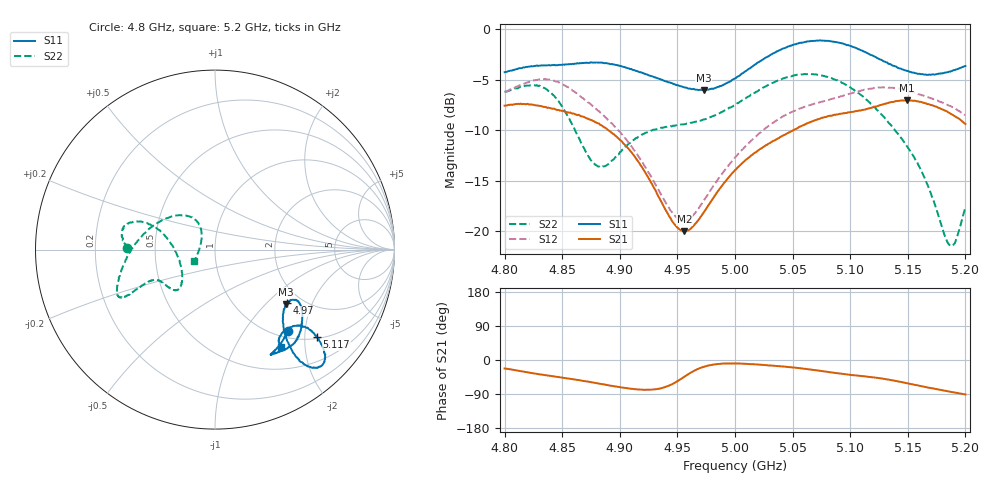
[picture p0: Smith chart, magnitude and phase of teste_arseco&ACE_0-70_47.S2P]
! Network Analyzer HP8722D
! Hewlett-Packard
! Data name: Linha & Wilkinson
! Saver's name: Rodrigo Anjos
! Comments: Teste da utilização de aquisição
! continua pelo VNA HP8722D
! Time and date: 8/5/2025 13:09
!  Frequency  S11  S21  S12  S22
# HZ  S  MA R 50
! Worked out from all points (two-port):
!   401 points, 4.8 GHz to 5.2 GHz, reference 50 ohm
!   highest |S21| = -7.03 dB at 5.149 GHz (marker M1); lowest = -20.0 dB at 4.956 GHz (marker M2)
!   |S21| within 3 dB of the highest: start of sweep to 4.89 GHz; 5.05 GHz to end of sweep
!   lowest |S11| = -6.0 dB at 4.973 GHz (marker M3), VSWR 2.99, Z = 82 - j66.4 ohm
!   |S11| at or under -10 dB: nowhere
!   |S22| runs from -21.5 to -4.4 dB; largest |S21 - S12| = 0.95
!   S11 on the Smith chart (normalised r, x): 4.8 GHz: 1.12, -1.64; 4.97 GHz: 1.68, -1.34; 5.117 GHz: 1.03, -2.30; 5.2 GHz: 0.82, -1.57
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4.8e9  0.6124 -48.1  0.4183 -22.5  0.4888 -176.9  0.4899 179.2
4.823e9  0.6562 -59.6  0.4243 -34.1  0.5508 175.2  0.5277 169.9
4.837e9  0.6615 -61.9  0.4084 -40.8  0.5639 166.6  0.5016 162.7
4.851e9  0.6687 -60.1  0.3939 -46.8  0.5303 157.6  0.4052 158.6
4.867e9  0.6794 -54.8  0.3702 -54.6  0.459 150.0  0.2705 167.4
4.885e9  0.6819 -49.2  0.3315 -63.8  0.3786 143.7  0.2094 -159.1
4.909e9  0.6339 -40.5  0.2502 -75.6  0.2685 137.4  0.274 -133.6
4.934e9  0.5691 -33.0  0.1475 -75.9  0.1594 141.5  0.3232 -135.9
4.956e9  0.5154 -32.7  0.1001 -44.3  0.113 173.9  0.3386 -145.0
4.97e9  0.5016 -36.4  0.1179 -21.0  0.1339 -163.0  0.3527 -150.2
4.973e9  0.4991 -37.6  0.1245 -17.9  0.1422 -159.6  0.3577 -151.2
5e9  0.5706 -48.2  0.2009 -9.2  0.2319 -147.3  0.4226 -154.2
5.038e9  0.7836 -52.7  0.2892 -16.4  0.3608 -148.5  0.5594 -152.3
5.067e9  0.8729 -48.6  0.3501 -25.7  0.4249 -155.1  0.5983 -155.5
5.096e9  0.8388 -43.4  0.3845 -37.8  0.4732 -163.5  0.5323 -167.9
5.117e9  0.7501 -40.6  0.4065 -44.8  0.5074 -173.4  0.4335 173.4
5.134e9  0.6731 -40.4  0.4343 -52.1  0.5138 176.4  0.3411 152.1
5.149e9  0.6216 -42.9  0.4451 -61.0  0.4959 168.0  0.2654 134.1
5.165e9  0.5963 -48.3  0.4302 -71.1  0.4653 160.6  0.1819 122.6
5.186e9  0.6162 -54.6  0.3855 -83.2  0.4178 153.3  0.0859 157.7
5.191e9  0.6281 -55.3  0.371 -86.0  0.4051 151.9  0.08793 -179.3
5.2e9  0.6571 -55.9  0.3397 -91.0  0.3763 148.8  0.1323 -150.9
